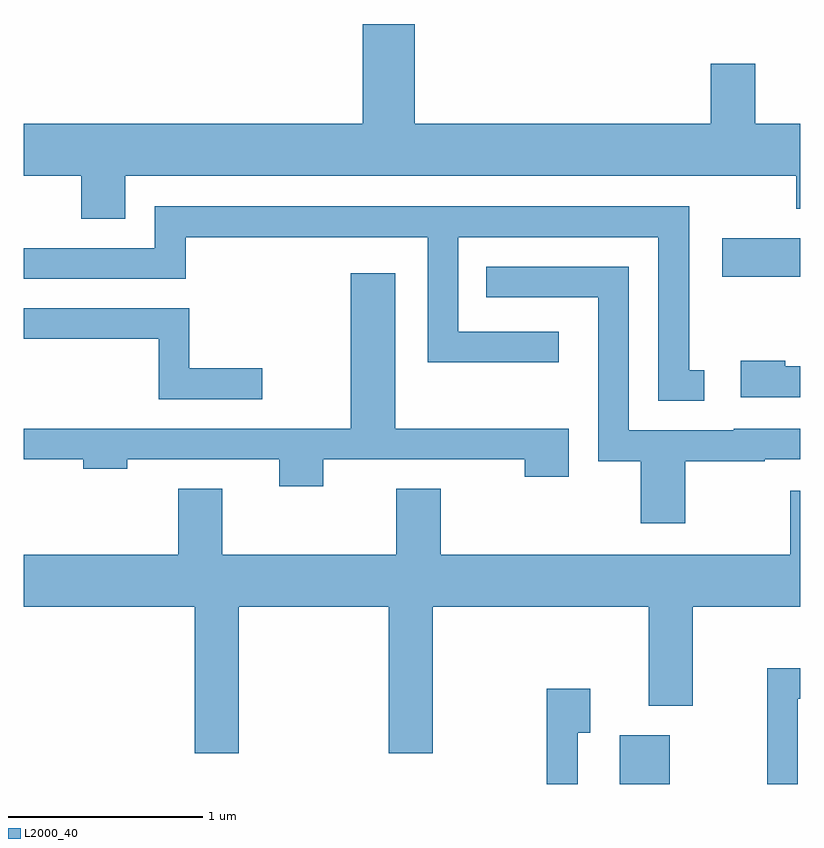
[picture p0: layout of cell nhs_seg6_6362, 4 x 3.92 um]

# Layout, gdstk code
import gdstk
lib = gdstk.Library(unit=1e-6, precision=1e-09)
def R(c, l, rs):  # rectangles x0, y0, x1, y1
    for r in rs: c.add(gdstk.rectangle(r[:2], r[2:], *l))
def P(c, l, *ps):  # polygons
    for p in ps: c.add(gdstk.Polygon(p, *l))
L2000_40 = (2000, 40)

nhs_seg6_6362 = lib.new_cell('nhs_seg6_6362')
R(nhs_seg6_6362, L2000_40, [(380.681,1620.162,380.939,1620.414), (381.211,1622.776,381.611,1622.974)])
P(nhs_seg6_6362, L2000_40, [(377.611,1623.296),(377.906,1623.296),(377.906,1623.076),(378.134,1623.076),(378.134,1623.296),(381.591,1623.296),(381.591,1623.126),(381.611,1623.126),(381.611,1623.564),(381.379,1623.564),(381.379,1623.874),(381.151,1623.874),(381.151,1623.564),(379.624,1623.564),(379.624,1624.079),(379.356,1624.079),(379.356,1623.564),(377.611,1623.564)],
  [(381.118,1622.294),(381.039,1622.294),(381.039,1623.139),(378.286,1623.139),(378.286,1622.924),(377.611,1622.924),(377.611,1622.766),(378.444,1622.766),(378.444,1622.981),(379.691,1622.981),(379.691,1622.336),(380.368,1622.336),(380.368,1622.494),(379.849,1622.494),(379.849,1622.981),(380.881,1622.981),(380.881,1622.136),(381.118,1622.136)],
  [(381.019,1621.826),(381.43,1621.826),(381.43,1621.836),(381.611,1621.836),(381.611,1621.994),(381.27,1621.994),(381.27,1621.984),(380.729,1621.984),(380.729,1622.829),(379.993,1622.829),(379.993,1622.671),(380.571,1622.671),(380.571,1621.826),(380.791,1621.826),(380.791,1621.506),(381.019,1621.506)],
  [(379.154,1621.836),(380.191,1621.836),(380.191,1621.746),(380.419,1621.746),(380.419,1621.994),(379.524,1621.994),(379.524,1622.794),(379.296,1622.794),(379.296,1621.994),(377.611,1621.994),(377.611,1621.836),(377.916,1621.836),(377.916,1621.786),(378.144,1621.786),(378.144,1621.836),(378.926,1621.836),(378.926,1621.696),(379.154,1621.696)],
  [(378.838,1622.304),(378.464,1622.304),(378.464,1622.614),(377.611,1622.614),(377.611,1622.456),(378.306,1622.456),(378.306,1622.146),(378.838,1622.146)],
  [(381.611,1622.314),(381.534,1622.314),(381.534,1622.344),(381.306,1622.344),(381.306,1622.156),(381.611,1622.156)],
  [(378.719,1621.076),(379.491,1621.076),(379.491,1620.321),(379.719,1620.321),(379.719,1621.076),(380.831,1621.076),(380.831,1620.566),(381.059,1620.566),(381.059,1621.076),(381.611,1621.076),(381.611,1621.674),(381.561,1621.674),(381.561,1621.344),(379.759,1621.344),(379.759,1621.684),(379.531,1621.684),(379.531,1621.344),(378.634,1621.344),(378.634,1621.684),(378.406,1621.684),(378.406,1621.344),(377.611,1621.344),(377.611,1621.076),(378.491,1621.076),(378.491,1620.321),(378.719,1620.321)],
  [(381.599,1620.601),(381.611,1620.601),(381.611,1620.759),(381.441,1620.759),(381.441,1620.162),(381.599,1620.162)],
  [(380.464,1620.426),(380.529,1620.426),(380.529,1620.654),(380.306,1620.654),(380.306,1620.162),(380.464,1620.162)])

lib.write_gds('nhs_seg6_6362.gds')
